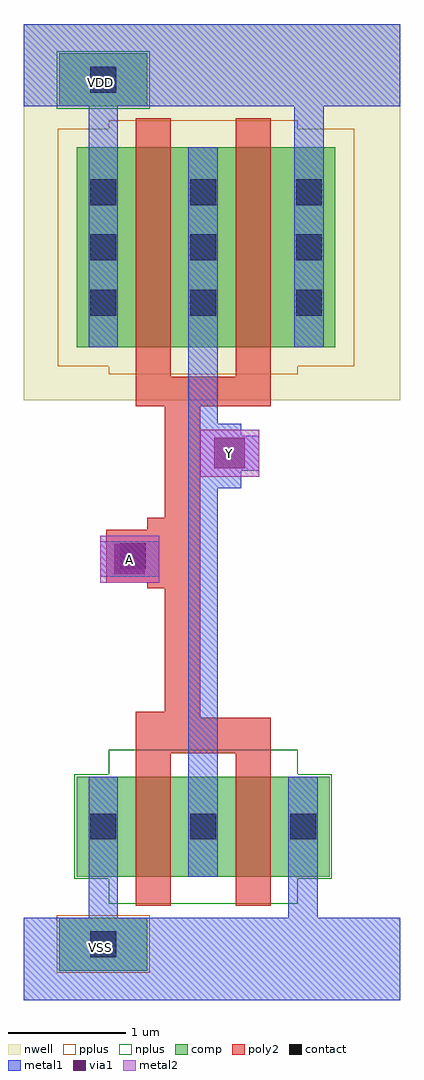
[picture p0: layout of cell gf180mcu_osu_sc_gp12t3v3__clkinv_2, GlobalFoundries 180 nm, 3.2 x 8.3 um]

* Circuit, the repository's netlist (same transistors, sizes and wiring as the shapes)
* Copyright 2022 Google LLC
*
* Licensed under the Apache License, Version 2.0 (the "License");
* you may not use this file except in compliance with the License.
* You may obtain a copy of the License at
*
*      http://www.apache.org/licenses/LICENSE-2.0
*
* Unless required by applicable law or agreed to in writing, software
* distributed under the License is distributed on an "AS IS" BASIS,
* WITHOUT WARRANTIES OR CONDITIONS OF ANY KIND, either express or implied.
* See the License for the specific language governing permissions and
* limitations under the License.

* NGSPICE file created from gf180mcu_osu_sc_gp12t3v3__clkinv_2.ext - technology: gf180mcuC

.subckt gf180mcu_osu_sc_gp12t3v3__clkinv_2 A Y VDD VSS
X0 VDD A Y VDD pfet_03p3 w=1.7u l=0.3u
X1 Y A VDD VDD pfet_03p3 w=1.7u l=0.3u
X2 Y A VSS VSS nfet_03p3 w=0.85u l=0.3u
X3 VSS A Y VSS nfet_03p3 w=0.85u l=0.3u
.ends

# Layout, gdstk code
import gdstk
lib = gdstk.Library(unit=1e-6, precision=1e-09)
def R(c, l, rs):  # rectangles x0, y0, x1, y1
    for r in rs: c.add(gdstk.rectangle(r[:2], r[2:], *l))
def A(c, l, x, y, w, h, nx, ny, dx, dy):  # array of equal rectangles
    R(c, l, [(x+i*dx, y+j*dy, x+i*dx+w, y+j*dy+h) for i in range(nx) for j in range(ny)])
nwell = (21, 0)
comp = (22, 0)
poly2 = (30, 0)
pplus = (31, 0)
nplus = (32, 0)
contact = (33, 0)
metal1 = (34, 0)
via1 = (35, 0)
metal2 = (36, 0)

gf180mcu_osu_sc_gp12t3v3 = lib.new_cell('gf180mcu_osu_sc_gp12t3v3__clkinv_2')
R(gf180mcu_osu_sc_gp12t3v3, nwell, [(0,5.1,3.2,8.3)])
R(gf180mcu_osu_sc_gp12t3v3, comp, [(0.3,0.25,1.05,0.7), (0.45,1.05,2.6,1.9), (0.45,5.55,2.65,7.25), (0.3,7.6,1.05,8.05)])
R(gf180mcu_osu_sc_gp12t3v3, poly2, [(0.95,0.8,1.25,2.1), (1.8,0.8,2.1,2.1), (0.95,2.1,2.1,2.4), (0.95,2.4,1.5,2.45), (1.2,2.45,1.5,3.5), (1.05,3.5,1.5,3.55), (0.7,3.55,1.5,4), (1.05,4,1.5,4.1), (1.2,4.1,1.5,5.05), (0.95,5.05,2.1,5.3), (0.95,5.3,1.25,7.5), (1.8,5.3,2.1,7.5)])
R(gf180mcu_osu_sc_gp12t3v3, pplus, [(0.28,0.23,1.07,0.72), (0.72,5.32,2.33,5.39), (0.29,5.39,2.81,7.41), (0.72,7.41,2.33,7.48)])
R(gf180mcu_osu_sc_gp12t3v3, nplus, [(0.72,0.82,2.33,1.03), (0.43,1.03,2.62,1.92), (0.72,1.92,2.33,2.13), (0.28,7.58,1.07,8.07)])
A(gf180mcu_osu_sc_gp12t3v3, contact, 0.565, 1.365, 0.22, 0.22, 3, 1, 0.85, 0)
A(gf180mcu_osu_sc_gp12t3v3, contact, 0.565, 5.82, 0.22, 0.22, 1, 3, 0, 0.47)
A(gf180mcu_osu_sc_gp12t3v3, contact, 1.415, 5.82, 0.22, 0.22, 1, 3, 0, 0.47)
A(gf180mcu_osu_sc_gp12t3v3, contact, 2.315, 5.82, 0.22, 0.22, 1, 3, 0, 0.47)
R(gf180mcu_osu_sc_gp12t3v3, contact, [(0.565,0.365,0.785,0.585), (0.815,3.665,1.035,3.885), (0.565,7.715,0.785,7.935)])
R(gf180mcu_osu_sc_gp12t3v3, metal1, [(0,0,3.2,0.7), (0.55,0.7,0.8,1.9), (2.25,0.7,2.5,1.9), (1.4,1.05,1.65,4.35), (0.65,3.6,1.15,3.9), (1.4,4.35,1.85,4.5), (1.4,4.5,2,4.8), (1.4,4.8,1.85,4.9), (1.4,4.9,1.65,7.25), (0.55,5.55,0.8,7.6), (2.3,5.55,2.55,7.6), (0,7.6,3.2,8.3)])
R(gf180mcu_osu_sc_gp12t3v3, via1, [(0.77,3.62,1.03,3.88), (1.62,4.52,1.88,4.78)])
R(gf180mcu_osu_sc_gp12t3v3, metal2, [(0.65,3.55,1.15,3.95), (1.5,4.45,2,4.85)])
gf180mcu_osu_sc_gp12t3v3.add(gdstk.Label('A', (0.9,3.75), layer=36, texttype=10))
gf180mcu_osu_sc_gp12t3v3.add(gdstk.Label('Y', (1.75,4.65), layer=36, texttype=10))
gf180mcu_osu_sc_gp12t3v3.add(gdstk.Label('VDD', (0.65,7.8), layer=34, texttype=10))
gf180mcu_osu_sc_gp12t3v3.add(gdstk.Label('VSS', (0.65,0.45), layer=34, texttype=10))

lib.write_gds('gf180mcu_osu_sc_gp12t3v3__clkinv_2.gds')
